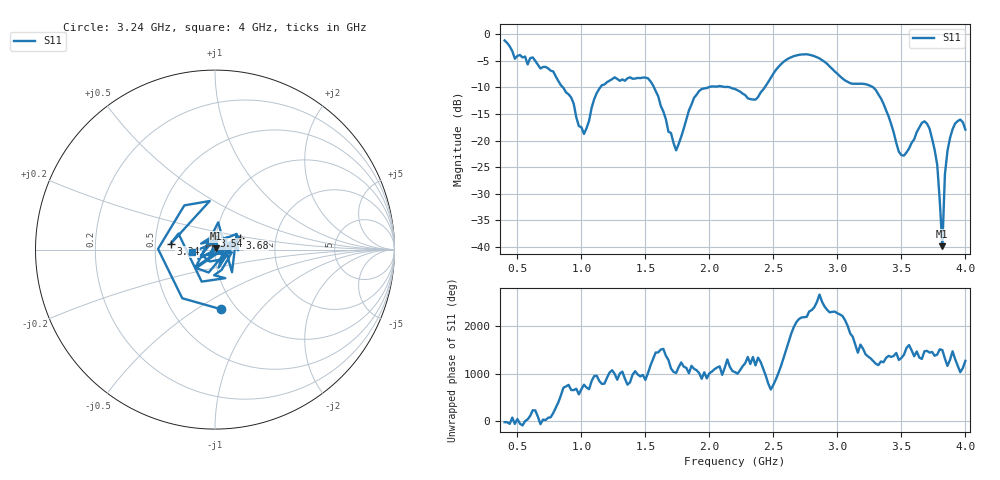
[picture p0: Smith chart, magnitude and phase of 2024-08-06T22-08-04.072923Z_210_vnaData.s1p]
!Created with skrf (http://scikit-rf.org).
# Hz S RI R 50.0
!freq ReS11 ImS11
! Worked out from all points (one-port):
!   181 points, 400 MHz to 4 GHz, reference 50 ohm
!   lowest |S11| = -39.9 dB at 3.82 GHz (marker M1), VSWR 1.02, Z = 50.6 + j0.797 ohm
!   |S11| at or under -10 dB: 857 MHz to 1.147 GHz (290 MHz wide, 28.9 % of centre); 1.568 GHz to 1.99 GHz (422.5 MHz wide, 23.8 % of centre); 3.281 GHz to end of sweep (the widest 3 of 4)
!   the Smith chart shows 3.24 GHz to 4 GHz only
!   S11 on the Smith chart (normalised r, x): 3.24 GHz: 0.85, -0.64; 3.34 GHz: 0.60, +0.04; 3.54 GHz: 0.97, +0.15; 3.68 GHz: 1.30, +0.18; 4 GHz: 0.78, -0.02
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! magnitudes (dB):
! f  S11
! 400 MHz  -1.1
! 480 MHz  -4.6
! 620 MHz  -4.3
! 860 MHz  -10.1
! 1.02 GHz  -18.8
! 1.14 GHz  -10.2
! 1.3 GHz  -8.7
! 1.52 GHz  -8.3
! 1.74 GHz  -21.8
! 1.76 GHz  -20.6
! 1.92 GHz  -10.7
! 2.2 GHz  -10.3
! 2.36 GHz  -12.3
! 2.66 GHz  -4.1
! 3.1 GHz  -9.2
! 3.24 GHz  -9.5
! 3.34 GHz  -12.0
! 3.48 GHz  -22.1
! 3.54 GHz  -22.2
! 3.56 GHz  -21.5
! 3.68 GHz  -16.4
! 3.72 GHz  -17.8
! 3.78 GHz  -24.6
! 3.82 GHz  -39.9
! 3.84 GHz  -26.4
! 3.88 GHz  -19.5
! 3.96 GHz  -16.1
! 4 GHz  -17.9
